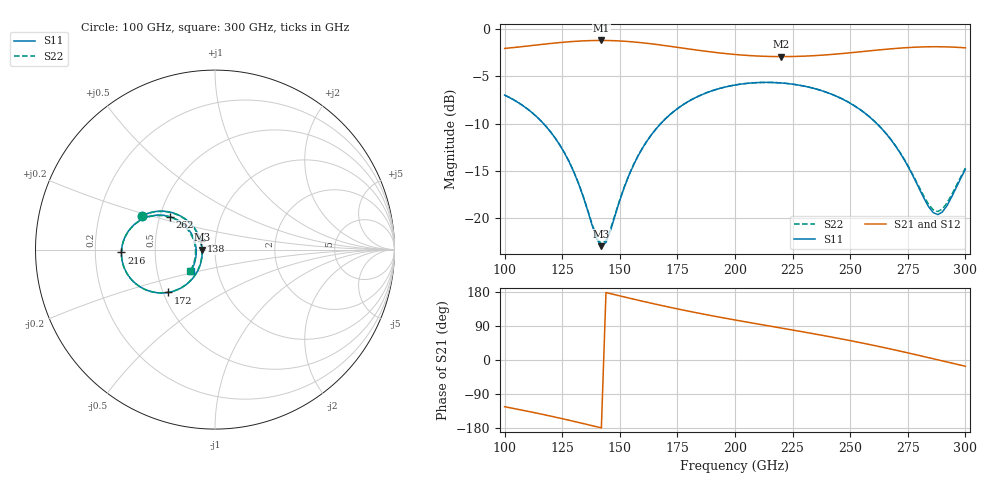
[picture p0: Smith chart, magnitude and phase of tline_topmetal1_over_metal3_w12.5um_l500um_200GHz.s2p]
#  GHZ S DB R 50
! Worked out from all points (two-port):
!   101 points, 100 GHz to 300 GHz, reference 50 ohm
!   highest |S21| = -1.22 dB at 142 GHz (marker M1); lowest = -2.9 dB at 220 GHz (marker M2)
!   |S21| within 3 dB of the highest: start of sweep to end of sweep
!   lowest |S11| = -22.9 dB at 142 GHz (marker M3), VSWR 1.15, Z = 43.3 + j0.0371 ohm
!   |S11| at or under -10 dB: 116.9 GHz to 167.8 GHz (50.88 GHz wide, 35.8 % of centre); 261.6 GHz to end of sweep
!   |S22| runs from -22.7 to -5.6 dB; largest |S21 - S12| = 9e-14
!   S11 on the Smith chart (normalised r, x): 100 GHz: 0.40, +0.19; 138 GHz: 0.85, +0.08; 172 GHz: 0.53, -0.29; 216 GHz: 0.31, -0.01; 262 GHz: 0.56, +0.23; 300 GHz: 0.74, -0.19
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100  -6.99 155.0  -2.06 -123.3  -2.06 -123.3  -6.98 155.3
120  -10.89 136.9  -1.54 -148.1  -1.54 -148.1  -10.88 137.3
128  -14.03 133.1  -1.36 -159.0  -1.36 -159.0  -14.00 133.7
134  -17.63 136.9  -1.26 -167.5  -1.26 -167.5  -17.57 137.7
138  -20.75 149.5  -1.23 -173.3  -1.23 -173.3  -20.61 150.4
142  -22.93 179.7  -1.22 -179.1  -1.22 -179.1  -22.70 179.9
144  -22.54 -162.1  -1.22 177.9  -1.22 177.9  -22.32 -162.3
156  -14.34 -127.7  -1.38 160.6  -1.38 160.6  -14.31 -128.1
168  -9.93 -134.2  -1.71 144.0  -1.71 144.0  -9.92 -134.3
172  -9.00 -137.7  -1.84 138.7  -1.84 138.7  -8.99 -137.8
184  -7.12 -149.0  -2.25 123.8  -2.25 123.8  -7.11 -149.0
200  -5.92 -163.9  -2.70 105.7  -2.70 105.7  -5.92 -163.9
216  -5.65 -178.2  -2.91 88.6  -2.91 88.6  -5.65 -178.1
220  -5.70 178.3  -2.92 84.4  -2.92 84.4  -5.70 178.5
234  -6.26 166.1  -2.83 69.4  -2.83 69.4  -6.26 166.4
248  -7.57 154.2  -2.57 53.5  -2.57 53.5  -7.57 154.6
262  -10.10 143.9  -2.23 36.2  -2.23 36.2  -10.08 144.5
268  -11.80 141.3  -2.10 28.4  -2.10 28.4  -11.76 142.1
284  -18.76 162.5  -1.89 6.2  -1.89 6.2  -18.51 163.6
288  -19.60 -176.9  -1.88 0.5  -1.88 0.5  -19.27 -176.6
292  -18.66 -156.7  -1.90 -5.2  -1.90 -5.2  -18.38 -157.3
300  -14.82 -138.2  -2.00 -16.5  -2.00 -16.5  -14.69 -139.1
